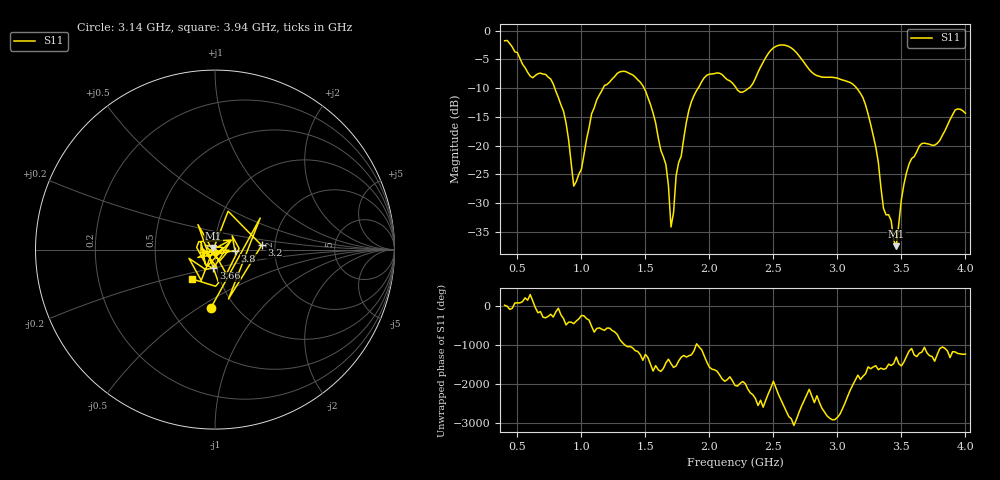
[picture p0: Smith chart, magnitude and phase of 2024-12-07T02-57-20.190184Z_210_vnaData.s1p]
!Created with skrf (http://scikit-rf.org).
# Hz S RI R 50.0
!freq ReS11 ImS11
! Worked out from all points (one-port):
!   181 points, 400 MHz to 4 GHz, reference 50 ohm
!   lowest |S11| = -37.5 dB at 3.46 GHz (marker M1), VSWR 1.03, Z = 49 + j0.836 ohm
!   |S11| at or under -10 dB: 791.8 MHz to 1.169 GHz (377.6 MHz wide, 38.5 % of centre); 1.49 GHz to 1.912 GHz (421.7 MHz wide, 24.8 % of centre); 3.151 GHz to end of sweep (the widest 3 of 4)
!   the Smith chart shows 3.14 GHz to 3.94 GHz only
!   S11 on the Smith chart (normalised r, x): 3.14 GHz: 0.77, -0.57; 3.2 GHz: 1.70, +0.09; 3.66 GHz: 0.96, -0.20; 3.8 GHz: 1.25, -0.01; 3.94 GHz: 0.73, -0.25
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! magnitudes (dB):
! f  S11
! 400 MHz  -1.7
! 600 MHz  -7.9
! 760 MHz  -8.4
! 860 MHz  -14.0
! 940 MHz  -27.0
! 1.12 GHz  -12.0
! 1.3 GHz  -7.2
! 1.54 GHz  -12.9
! 1.66 GHz  -23.3
! 1.7 GHz  -34.2
! 1.76 GHz  -22.9
! 1.86 GHz  -12.3
! 1.96 GHz  -8.2
! 2.2 GHz  -9.7
! 2.32 GHz  -9.8
! 2.5 GHz  -3.0
! 2.66 GHz  -3.4
! 3.1 GHz  -9.0
! 3.14 GHz  -9.7
! 3.2 GHz  -11.7
! 3.3 GHz  -20.3
! 3.36 GHz  -30.9
! 3.46 GHz  -37.5
! 3.56 GHz  -23.2
! 3.66 GHz  -19.6
! 3.8 GHz  -19.1
! 3.94 GHz  -13.6
! 4 GHz  -14.4
